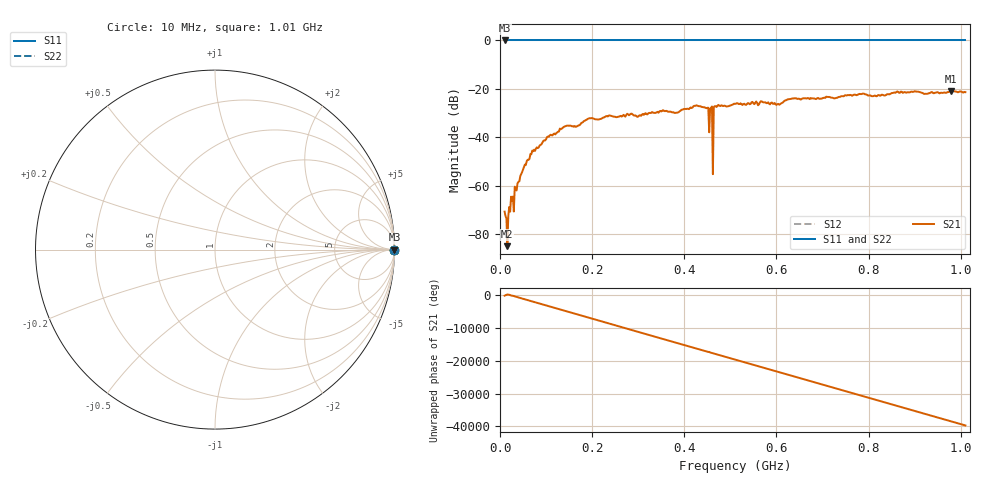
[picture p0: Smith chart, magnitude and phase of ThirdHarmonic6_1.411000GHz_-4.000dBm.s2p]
! 8/16/2025 4:10:27 PM
! C:\ANRITSUVNA\TEMP\TEMP.S2P
! CHANNEL.1
! TR.MEASUREMENT
! RAW.DATA
! RF.CORRECTION.OFF
! AVERAGING.OFF
! IF.BANDWIDTH: 5KHZ
! SWEEPTYPE:  FREQ.SWEEP(Linear)
! Reference Plane Port Info
! PORT:  PORT1  PORT2
! DISTANCE:  0  m  0  m
! TIME:  0  s  0  s
! PHASE.OFFSET:  0  deg.  0  deg.
! LOSS:  0  dB  0  dB
! REF.LOSS:  0  dB  0  dB
! REF.FREQ:  0  Hz  0  Hz
! Power Info
! POWER:  -20  dBm  -20  dBm
! EFF.POWER:  -20  dBm  -20  dBm
! SOURCE.ATTEN:  0  dB  0  dB
! TEST.ATTEN:  0  dB  0  dB
# GHZ S RI R 50.0
! FREQ.GHZ  S11RE  S11IM  S21RE  S21IM  S12RE  S12IM  S22RE  S22IM
!; PortSelection: Port_12
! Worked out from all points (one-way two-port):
!   501 points, 10 MHz to 1.01 GHz, reference 50 ohm
!   highest |S21| = -20.98 dB at 978 MHz (marker M1); lowest = -85.0 dB at 16 MHz (marker M2)
!   lowest |S11| = 0.0 dB at 10 MHz (marker M3)
!   |S11| at or under -10 dB: nowhere
!   |S22| runs from 0.0 to 0.0 dB; largest |S21 - S12| = 1.1
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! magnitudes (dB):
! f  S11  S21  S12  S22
! 10 MHz  0.0  -70.7  0.0  0.0
! 16 MHz  0.0  -85.0  0.0  0.0
! 36 MHz  0.0  -62.0  0.0  0.0
! 70 MHz  0.0  -45.5  0.0  0.0
! 134 MHz  0.0  -36.4  0.0  0.0
! 178 MHz  0.0  -34.0  0.0  0.0
! 196 MHz  0.0  -32.1  0.0  0.0
! 344 MHz  0.0  -29.9  0.0  0.0
! 448 MHz  0.0  -28.0  0.0  0.0
! 450 MHz  0.0  -27.8  0.0  0.0
! 456 MHz  0.0  -28.1  0.0  0.0
! 458 MHz  0.0  -27.8  0.0  0.0
! 460 MHz  0.0  -27.3  0.0  0.0
! 466 MHz  0.0  -27.1  0.0  0.0
! 468 MHz  0.0  -27.2  0.0  0.0
! 510 MHz  0.0  -26.2  0.0  0.0
! 604 MHz  0.0  -26.2  0.0  0.0
! 630 MHz  0.0  -24.2  0.0  0.0
! 678 MHz  0.0  -23.9  0.0  0.0
! 844 MHz  0.0  -22.2  0.0  0.0
! 978 MHz  0.0  -21.0  0.0  0.0
! 1.01 GHz  0.0  -21.4  0.0  0.0
